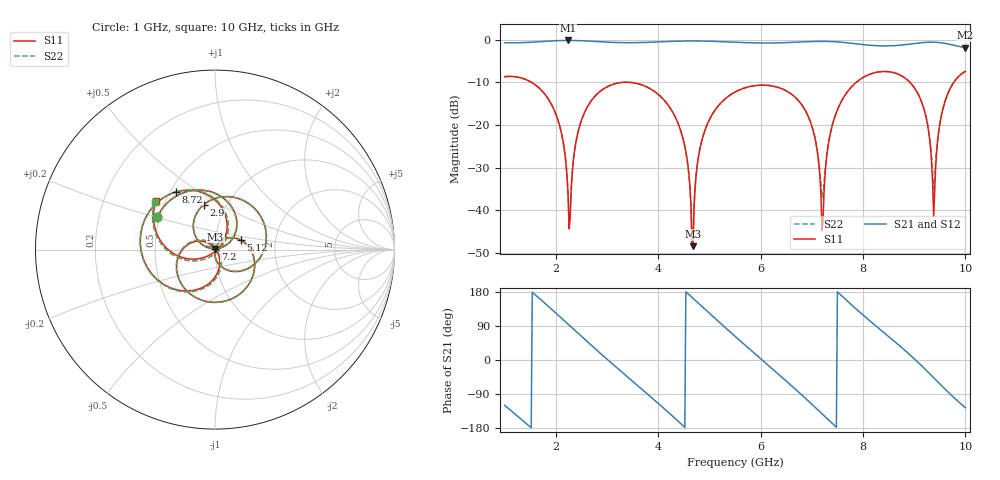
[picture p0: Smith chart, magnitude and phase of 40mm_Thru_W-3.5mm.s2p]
! Touchstone file exported from HFSS 2018.2.0
!  File:  C:/Users/10024/OneDrive - The University of Nottingham Ningbo China/Year 4/Final Year Project/HFSS project/Passive_Resonator_Antenna.aedt
!  Generated:  4:19:02 下午  3月 11, 2022
!  Design:  SMA_Thru
!  Project:  Passive_Resonator_Antenna
!  Setup:  Setup1
!  Solution:  Sweep
! Variables:
!  MW = 3.5mm
!  ThruL = 40mm
!  g = 0.2mm
!  subH = 0.8mm
!  subX = 20mm
!  subY = 50mm
!  tapW = 1.992mm
# GHZ S MA R 50.000000
! Modal data exported
! Port[1] = SMA_CONNECTOR1_1:1
! Port[2] = SMA_CONNECTOR2_1:1
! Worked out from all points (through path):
!   451 points, 1 GHz to 10 GHz, reference 50 ohm
!   highest |S21| = -0.15 dB at 2.24 GHz (marker M1); lowest = -1.9 dB at 10 GHz (marker M2)
!   group delay of S21, straight-line fit = 335 ps
!   lowest |S11| = -48.4 dB at 4.68 GHz (marker M3), VSWR 1.01, Z = 50.2 + j0.311 ohm
!   |S11| at or under -10 dB: 1.528 GHz to 3.294 GHz (1.767 GHz wide, 73.3 % of centre); 3.462 GHz to 7.866 GHz (4.405 GHz wide, 77.8 % of centre); 8.918 GHz to 9.773 GHz (854.8 MHz wide, 9.15 % of centre)
!   |S22| runs from -48.2 to -7.4 dB; largest |S21 - S12| = 7.4e-14
!   S11 on the Smith chart (normalised r, x): 1 GHz: 0.49, +0.20; 2.9 GHz: 0.78, +0.42; 5.12 GHz: 1.33, +0.14; 7.2 GHz: 1.00, +0.01; 8.72 GHz: 0.54, +0.41; 10 GHz: 0.45, +0.30
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1  0.369 150.6  0.924 -119.5  0.924 -119.5  0.369 150.8
! Gamma ! 0.0151858380091722 30.3716836111644 0.0151858380091474 30.3716836111808
! Port Impedance50 0 50 0
1.92  0.1724 45.4  0.9702 133.7  0.9702 133.7  0.1725 46.1
2.24  0.01473 23.6  0.983 94.2  0.983 94.2  0.01523 28.7
2.5  0.1133 150.5  0.9757 62.1  0.9757 62.1  0.1133 150.2
2.9  0.2578 104.0  0.9468 13.9  0.9468 13.9  0.2578 104.3
3.52  0.313 33.1  0.9255 -58.2  0.9255 -58.2  0.313 33.6
4  0.2293 -22.6  0.9453 -114.4  0.9453 -114.4  0.2293 -21.8
4.46  0.07824 -77.3  0.9675 -170.2  0.9675 -170.2  0.0782 -76.4
4.68  0.003788 54.8  0.9705 162.7  0.9705 162.7  0.003893 53.6
4.82  0.05449 56.1  0.969 145.4  0.969 145.4  0.05455 56.8
5.12  0.1527 20.2  0.958 108.6  0.958 108.6  0.1528 20.9
5.5  0.2438 -25.8  0.937 62.6  0.937 62.6  0.2438 -25.1
6.18  0.2903 -106.9  0.9178 -17.6  0.9178 -17.6  0.2901 -107.0
7  0.09732 150.7  0.9554 -116.6  0.9554 -116.6  0.09804 146.2
7.2  0.005785 78.1  0.9596 -141.8  0.9596 -141.8  0.01414 54.0
7.56  0.181 -97.2  0.9389 172.4  0.9389 172.4  0.181 -94.1
8.5  0.4226 149.6  0.8485 62.0  0.8485 62.0  0.4227 149.8
8.72  0.387 123.9  0.864 37.0  0.864 37.0  0.3873 123.6
9.18  0.1617 65.6  0.9305 -19.7  0.9305 -19.7  0.1626 62.8
9.38  0.008338 -32.8  0.9382 -46.7  0.9382 -46.7  0.01793 -40.6
9.58  0.1711 -163.4  0.9126 -73.8  0.9126 -73.8  0.172 -160.0
10  0.4265 140.3  0.8068 -125.9  0.8068 -125.9  0.4272 141.3
